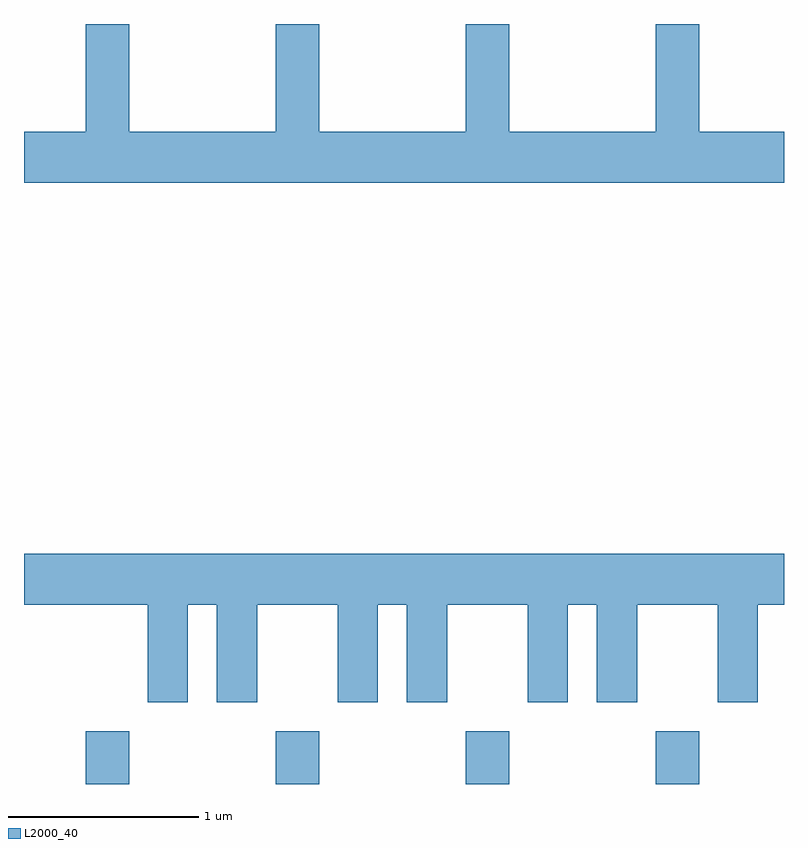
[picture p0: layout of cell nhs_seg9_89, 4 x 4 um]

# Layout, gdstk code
import gdstk
lib = gdstk.Library(unit=1e-6, precision=1e-09)
def R(c, l, rs):  # rectangles x0, y0, x1, y1
    for r in rs: c.add(gdstk.rectangle(r[:2], r[2:], *l))
def A(c, l, x, y, w, h, nx, ny, dx, dy):  # array of equal rectangles
    R(c, l, [(x+i*dx, y+j*dy, x+i*dx+w, y+j*dy+h) for i in range(nx) for j in range(ny)])
def P(c, l, *ps):  # polygons
    for p in ps: c.add(gdstk.Polygon(p, *l))
L2000_40 = (2000, 40)

nhs_seg9_89 = lib.new_cell('nhs_seg9_89')
A(nhs_seg9_89, L2000_40, 187.936, 1986.432, 0.228, 0.277, 4, 1, 1, 0)
P(nhs_seg9_89, L2000_40, [(191.611,1989.864),(191.164,1989.864),(191.164,1990.432),(190.936,1990.432),(190.936,1989.864),(190.164,1989.864),(190.164,1990.432),(189.936,1990.432),(189.936,1989.864),(189.164,1989.864),(189.164,1990.432),(188.936,1990.432),(188.936,1989.864),(188.164,1989.864),(188.164,1990.432),(187.936,1990.432),(187.936,1989.864),(187.611,1989.864),(187.611,1989.596),(191.611,1989.596)],
  [(188.474,1987.376),(188.626,1987.376),(188.626,1986.861),(188.839,1986.861),(188.839,1987.376),(189.261,1987.376),(189.261,1986.861),(189.474,1986.861),(189.474,1987.376),(189.626,1987.376),(189.626,1986.861),(189.839,1986.861),(189.839,1987.376),(190.261,1987.376),(190.261,1986.861),(190.474,1986.861),(190.474,1987.376),(190.626,1987.376),(190.626,1986.861),(190.839,1986.861),(190.839,1987.376),(191.261,1987.376),(191.261,1986.861),(191.474,1986.861),(191.474,1987.376),(191.611,1987.376),(191.611,1987.644),(187.611,1987.644),(187.611,1987.376),(188.261,1987.376),(188.261,1986.861),(188.474,1986.861)])

lib.write_gds('nhs_seg9_89.gds')
